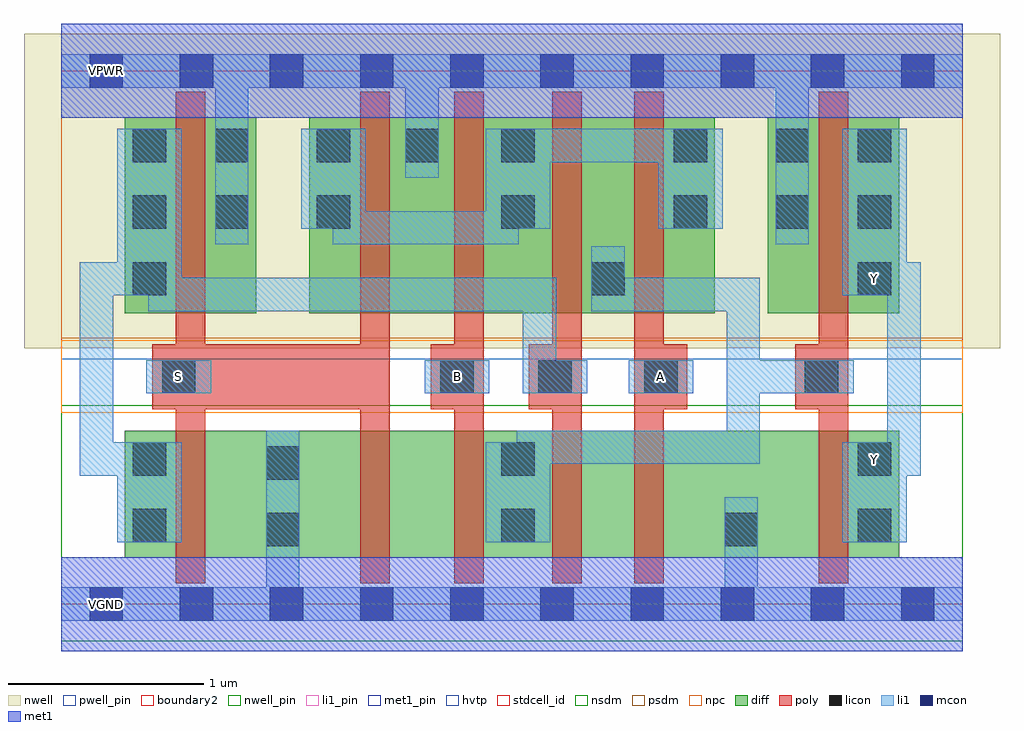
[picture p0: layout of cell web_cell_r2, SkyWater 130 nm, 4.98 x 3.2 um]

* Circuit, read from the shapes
.subckt web_cell_r2 A B S VGND VNB VPB VPWR Y
XM1 VGND S n1 VNB sky130_fd_pr__nfet_01v8 w=0.65 l=0.15
XM2 n2 S VGND VNB sky130_fd_pr__nfet_01v8 w=0.65 l=0.15
XM3 n3 B n2 VNB sky130_fd_pr__nfet_01v8 w=0.65 l=0.15
XM4 n4 n1 n3 VNB sky130_fd_pr__nfet_01v8 w=0.65 l=0.15
XM5 VGND A n4 VNB sky130_fd_pr__nfet_01v8 w=0.65 l=0.15
XM6 Y n3 VGND VNB sky130_fd_pr__nfet_01v8 w=0.65 l=0.15
XM7 VPWR S n1 VPB sky130_fd_pr__pfet_01v8_hvt w=1 l=0.15
XM8 VPWR S n5 VPB sky130_fd_pr__pfet_01v8_hvt w=1 l=0.15
XM9 n5 B VPWR VPB sky130_fd_pr__pfet_01v8_hvt w=1 l=0.15
XM10 n3 n1 n5 VPB sky130_fd_pr__pfet_01v8_hvt w=1 l=0.15
XM11 n5 A n3 VPB sky130_fd_pr__pfet_01v8_hvt w=1 l=0.15
XM12 Y n3 VPWR VPB sky130_fd_pr__pfet_01v8_hvt w=1 l=0.15
.ends

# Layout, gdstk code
import gdstk
lib = gdstk.Library(unit=1e-6, precision=1e-09)
def R(c, l, rs):  # rectangles x0, y0, x1, y1
    for r in rs: c.add(gdstk.rectangle(r[:2], r[2:], *l))
def A(c, l, x, y, w, h, nx, ny, dx, dy):  # array of equal rectangles
    R(c, l, [(x+i*dx, y+j*dy, x+i*dx+w, y+j*dy+h) for i in range(nx) for j in range(ny)])
nwell_pin = (64, 16)
nwell = (64, 20)
diff = (65, 20)
poly = (66, 20)
licon = (66, 44)
li1_pin = (67, 16)
li1 = (67, 20)
mcon = (67, 44)
met1_pin = (68, 16)
met1 = (68, 20)
hvtp = (78, 44)
stdcell_id = (81, 4)
nsdm = (93, 44)
psdm = (94, 20)
npc = (95, 20)
pwell_pin = (122, 16)
boundary2 = (236, 0)

web_cell_r2 = lib.new_cell('web_cell_r2')
R(web_cell_r2, nwell_pin, [(0.145,2.635,0.315,2.805)])
R(web_cell_r2, nwell, [(-0.19,1.305,4.79,2.91)])
R(web_cell_r2, diff, [(0.325,0.235,1.13,0.885), (1.13,0.235,1.84,0.885), (1.84,0.235,2.33,0.885), (2.33,0.235,2.79,0.885), (2.79,0.235,3.47,0.885), (3.47,0.235,4.275,0.885), (0.325,1.485,0.995,2.485), (1.265,1.485,1.84,2.485), (1.84,1.485,2.33,2.485), (2.33,1.485,2.79,2.485), (2.79,1.485,3.335,2.485), (3.605,1.485,4.275,2.485)])
R(web_cell_r2, poly, [(0.585,0.105,0.735,2.615), (1.525,0.105,1.675,2.615), (2.005,0.105,2.155,2.615), (2.505,0.105,2.655,2.615), (2.925,0.105,3.075,2.615), (3.865,0.105,4.015,2.615), (0.465,0.995,0.735,1.325), (0.585,0.995,1.675,1.325), (1.885,0.995,2.155,1.325), (2.385,0.995,2.655,1.325), (2.925,0.995,3.195,1.325), (3.745,0.995,4.015,1.325)])
A(web_cell_r2, licon, 0.365, 1.575, 0.17, 0.17, 1, 3, 0, 0.34)
A(web_cell_r2, licon, 4.065, 1.575, 0.17, 0.17, 1, 3, 0, 0.34)
R(web_cell_r2, licon, [(1.045,0.295,1.215,0.465), (3.385,0.295,3.555,0.465), (0.365,0.315,0.535,0.485), (2.245,0.315,2.415,0.485), (4.065,0.315,4.235,0.485), (1.045,0.635,1.215,0.805), (0.365,0.655,0.535,0.825), (2.245,0.655,2.415,0.825), (4.065,0.655,4.235,0.825), (0.515,1.075,0.685,1.245), (1.935,1.075,2.105,1.245), (2.435,1.075,2.605,1.245), (2.975,1.075,3.145,1.245), (3.795,1.075,3.965,1.245), (2.705,1.575,2.875,1.745), (0.785,1.915,0.955,2.085), (1.305,1.915,1.475,2.085), (2.245,1.915,2.415,2.085), (3.125,1.915,3.295,2.085), (3.645,1.915,3.815,2.085), (0.785,2.255,0.955,2.425), (1.305,2.255,1.475,2.425), (1.755,2.255,1.925,2.425), (2.245,2.255,2.415,2.425), (3.125,2.255,3.295,2.425), (3.645,2.255,3.815,2.425)])
R(web_cell_r2, li1_pin, [(4.065,0.655,4.235,0.825), (0.515,1.075,0.685,1.245), (1.935,1.075,2.105,1.245), (2.975,1.075,3.145,1.245), (4.065,1.575,4.235,1.745)])
A(web_cell_r2, li1, 0.285, 1.915, 0.33, 0.51, 3, 1, 0.94, 0)
R(web_cell_r2, li1, [(0,-0.085,4.6,0.085), (1.045,-0.085,1.215,0.545), (3.385,-0.085,3.555,0.545), (1.045,0.295,1.215,0.885), (0.285,0.315,0.615,0.825), (2.165,0.315,2.495,0.825), (3.985,0.315,4.315,0.825), (0.095,0.655,0.265,1.745), (0.095,0.655,0.455,0.825), (0.265,0.655,0.285,0.825), (0.265,0.655,0.285,0.825), (0.265,0.655,0.285,0.825), (0.265,0.655,0.285,0.825), (0.265,0.655,0.285,0.825), (0.265,0.655,0.285,0.825), (0.265,0.655,0.285,0.825), (0.265,0.655,0.285,0.825), (0.285,0.655,0.615,0.825), (2.165,0.655,2.495,0.825), (2.325,0.655,2.495,0.885), (3.985,0.655,4.315,0.825), (4.145,0.655,4.385,0.825), (4.215,0.655,4.385,1.745), (2.325,0.715,3.565,0.885), (3.395,0.715,3.565,1.245), (0.435,1.075,0.765,1.245), (1.855,1.075,2.185,1.245), (2.355,1.075,2.685,1.245), (2.355,1.075,2.525,1.665), (2.895,1.075,3.225,1.245), (3.395,1.075,3.565,1.665), (3.395,1.075,3.885,1.245), (3.565,1.075,3.715,1.245), (3.565,1.075,3.715,1.245), (3.565,1.075,3.715,1.245), (3.565,1.075,3.715,1.245), (3.565,1.075,3.715,1.245), (3.565,1.075,3.715,1.245), (3.565,1.075,3.715,1.245), (3.565,1.075,3.715,1.245), (3.715,1.075,4.045,1.245), (0.445,1.495,2.525,1.665), (0.445,1.495,0.615,1.745), (2.705,1.495,2.875,1.825), (2.705,1.495,3.565,1.665), (0.095,1.575,0.455,1.745), (0.265,1.575,0.285,1.745), (0.265,1.575,0.285,1.745), (0.265,1.575,0.285,1.745), (0.265,1.575,0.285,1.745), (0.265,1.575,0.285,1.745), (0.265,1.575,0.285,1.745), (0.265,1.575,0.285,1.745), (0.265,1.575,0.285,1.745), (0.265,1.575,0.285,1.745), (0.265,1.575,0.285,1.745), (0.265,1.575,0.285,1.745), (0.265,1.575,0.285,1.745), (0.265,1.575,0.285,1.745), (0.265,1.575,0.285,1.745), (0.265,1.575,0.285,1.745), (0.265,1.575,0.285,1.745), (0.265,1.575,0.285,1.665), (0.265,1.575,0.285,1.665), (0.265,1.575,0.285,1.665), (0.265,1.575,0.285,1.665), (0.265,1.575,0.285,1.665), (0.265,1.575,0.285,1.665), (0.265,1.575,0.285,1.665), (0.265,1.575,0.285,1.665), (0.285,1.575,0.615,1.745), (0.285,1.575,0.615,2.085), (0.285,1.575,0.445,1.665), (0.285,1.575,0.445,1.665), (0.285,1.575,0.445,1.665), (0.285,1.575,0.445,1.665), (0.285,1.575,0.445,1.665), (0.285,1.575,0.445,1.665), (0.285,1.575,0.445,1.665), (0.285,1.575,0.445,1.665), (0.285,1.575,0.445,1.665), (0.285,1.575,0.445,1.665), (0.285,1.575,0.445,1.665), (0.285,1.575,0.445,1.665), (0.285,1.575,0.445,1.665), (0.285,1.575,0.445,1.665), (0.285,1.575,0.445,1.665), (0.285,1.575,0.445,1.665), (0.285,1.575,0.445,1.665), (0.285,1.575,0.445,1.665), (0.285,1.575,0.445,1.745), (0.285,1.575,0.445,1.745), (0.285,1.575,0.445,1.745), (0.285,1.575,0.445,1.745), (0.285,1.575,0.445,1.745), (0.285,1.575,0.445,1.745), (0.285,1.575,0.445,1.745), (0.285,1.575,0.445,1.745), (0.285,1.575,0.445,1.745), (0.285,1.575,0.445,1.745), (0.285,1.575,0.445,1.745), (0.285,1.575,0.445,1.745), (0.285,1.575,0.445,1.745), (0.285,1.575,0.445,1.745), (3.985,1.575,4.315,1.745), (3.985,1.575,4.315,2.085), (4.145,1.575,4.385,1.745), (0.785,1.835,0.955,2.425), (1.385,1.835,2.335,2.005), (1.385,1.835,1.555,2.425), (2.165,1.835,2.335,2.425), (3.645,1.835,3.815,2.425), (3.045,1.915,3.375,2.425), (3.985,1.915,4.315,2.425), (0.785,2.175,0.955,2.805), (1.755,2.175,1.925,2.805), (3.645,2.175,3.815,2.805), (1.225,2.255,1.555,2.425), (2.165,2.255,2.495,2.425), (2.325,2.255,3.215,2.425), (3.045,2.255,3.375,2.425), (0,2.635,4.6,2.805)])
A(web_cell_r2, mcon, 0.145, -0.085, 0.17, 0.17, 10, 2, 0.46, 2.72)
R(web_cell_r2, met1_pin, [(0.145,-0.085,0.315,0.085), (0.145,2.635,0.315,2.805)])
R(web_cell_r2, met1, [(0,-0.24,4.6,0.24), (0,2.48,4.6,2.96)])
R(web_cell_r2, hvtp, [(0,1.25,4.6,2.72)])
R(web_cell_r2, stdcell_id, [(0,0,4.6,2.72)])
R(web_cell_r2, nsdm, [(0,-0.19,4.6,1.015)])
R(web_cell_r2, psdm, [(0,1.355,4.6,2.91)])
R(web_cell_r2, npc, [(0,0.975,4.6,1.345)])
R(web_cell_r2, pwell_pin, [(0.145,-0.085,0.315,0.085)])
R(web_cell_r2, boundary2, [(0,0,4.6,2.72)])
web_cell_r2.add(gdstk.Label('A', (3.06,1.16), layer=67, texttype=5))
web_cell_r2.add(gdstk.Label('B', (2.02,1.16), layer=67, texttype=5))
web_cell_r2.add(gdstk.Label('S', (0.6,1.16), layer=67, texttype=5))
web_cell_r2.add(gdstk.Label('Y', (4.15,0.74), layer=67, texttype=5))
web_cell_r2.add(gdstk.Label('Y', (4.15,1.66), layer=67, texttype=5))
web_cell_r2.add(gdstk.Label('VGND', (0.23,0), layer=68, texttype=5))
web_cell_r2.add(gdstk.Label('VPWR', (0.23,2.72), layer=68, texttype=5))
web_cell_r2.add(gdstk.Label('VPB', (0.23,2.72), layer=64, texttype=5))
web_cell_r2.add(gdstk.Label('VNB', (0.23,0), layer=64, texttype=59))

lib.write_gds('web_cell_r2.gds')
